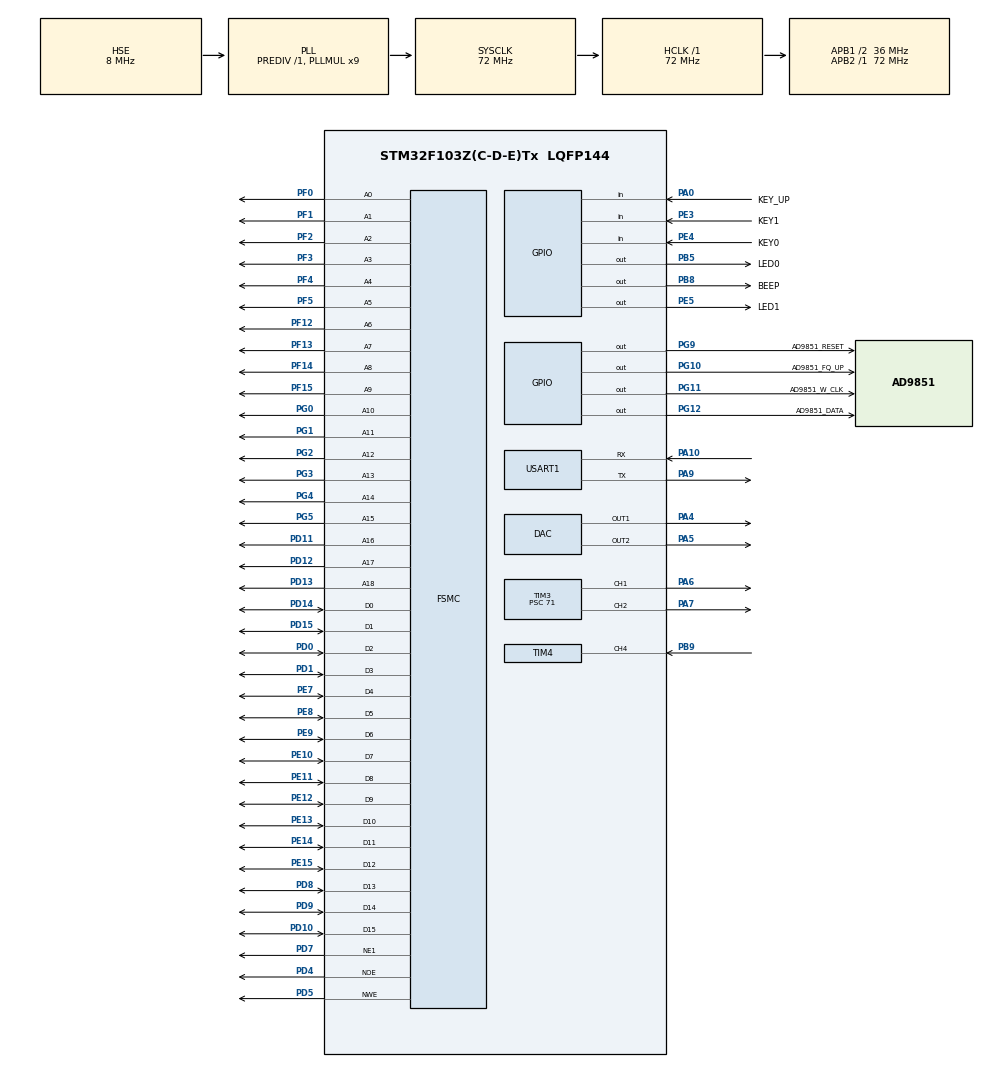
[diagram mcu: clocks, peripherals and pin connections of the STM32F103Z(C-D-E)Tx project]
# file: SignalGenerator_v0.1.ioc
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DAC.DAC_OutputBuffer=DAC_OUTPUTBUFFER_DISABLE
DAC.DAC_OutputBuffer2=DAC_OUTPUTBUFFER_DISABLE
DAC.DAC_Trigger=DAC_TRIGGER_T6_TRGO
DAC.DAC_Trigger2=DAC_TRIGGER_T6_TRGO
DAC.TriangleAmplitude=DAC_TRIANGLEAMPLITUDE_4095
DAC.WaveGeneration=TriangleWaveGeneration
DAC.WaveGeneration2=DISABLE
Dma.DAC_CH2.0.Direction=DMA_MEMORY_TO_PERIPH
Dma.DAC_CH2.0.Instance=DMA2_Channel4
Dma.DAC_CH2.0.MemDataAlignment=DMA_MDATAALIGN_HALFWORD
Dma.DAC_CH2.0.MemInc=DMA_MINC_ENABLE
Dma.DAC_CH2.0.Mode=DMA_CIRCULAR
Dma.DAC_CH2.0.PeriphDataAlignment=DMA_PDATAALIGN_HALFWORD
Dma.DAC_CH2.0.PeriphInc=DMA_PINC_DISABLE
Dma.DAC_CH2.0.Priority=DMA_PRIORITY_HIGH
Dma.Request0=DAC_CH2
FSMC.BusTurnAroundDuration1=1
FSMC.DataSetupTime1=46
FSMC.ExtendedBusTurnAroundDuration1=1
FSMC.ExtendedDataSetupTime1=15
FSMC.ExtendedMode1=FSMC_EXTENDED_MODE_ENABLE
FSMC.WriteOperation1=FSMC_WRITE_OPERATION_ENABLE
Mcu.Family=STM32F1
Mcu.Name=STM32F103Z(C-D-E)Tx
Mcu.Package=LQFP144
NVIC.DMA2_Channel4_5_IRQn=true\:0\:0\:false\:false\:true\:false\:true
NVIC.PriorityGroup=NVIC_PRIORITYGROUP_2
NVIC.TIM2_IRQn=true\:1\:0\:true\:false\:true\:true\:true
NVIC.TIM3_IRQn=true\:1\:0\:true\:false\:true\:true\:true
NVIC.TIM4_IRQn=true\:1\:3\:true\:false\:true\:true\:true
NVIC.TIM6_IRQn=true\:0\:0\:false\:false\:true\:true\:true
NVIC.USART1_IRQn=true\:2\:3\:true\:false\:true\:true\:true
OSC_IN.Mode=HSE-External-Oscillator
OSC_IN.Signal=RCC_OSC_IN
OSC_OUT.Mode=HSE-External-Oscillator
OSC_OUT.Signal=RCC_OSC_OUT
PA0-WKUP.GPIO_Label=KEY_UP
PA0-WKUP.GPIO_PuPd=GPIO_PULLDOWN
PA0-WKUP.Signal=GPIO_Input
PA10.Mode=Asynchronous
PA10.Signal=USART1_RX
PA4.Signal=COMP_DAC1_group
PA5.Signal=COMP_DAC2_group
PA6.GPIO_Speed=GPIO_SPEED_FREQ_HIGH
PA6.Signal=S_TIM3_CH1
PA7.GPIO_Speed=GPIO_SPEED_FREQ_HIGH
PA7.Signal=S_TIM3_CH2
PA9.Mode=Asynchronous
PA9.Signal=USART1_TX
PB5.GPIO_Label=LED0
PB5.GPIO_PuPd=GPIO_PULLUP
PB5.Signal=GPIO_Output
PB8.GPIO_Label=BEEP
PB8.GPIO_PuPd=GPIO_PULLUP
PB8.GPIO_Speed=GPIO_SPEED_FREQ_MEDIUM
PB8.Signal=GPIO_Output
PB9.Signal=S_TIM4_CH4
PD0.Signal=FSMC_D2_DA2
PD1.Signal=FSMC_D3_DA3
PD10.Signal=FSMC_D15_DA15
PD11.Signal=FSMC_A16_CLE
PD12.Signal=FSMC_A17_ALE
PD13.Signal=FSMC_A18
PD14.Signal=FSMC_D0_DA0
PD15.Signal=FSMC_D1_DA1
PD4.Signal=FSMC_NOE
PD5.Signal=FSMC_NWE
PD7.Mode=NorPsramChipSelect1_1
PD7.Signal=FSMC_NE1
PD8.Signal=FSMC_D13_DA13
PD9.Signal=FSMC_D14_DA14
PE10.Signal=FSMC_D7_DA7
PE11.Signal=FSMC_D8_DA8
PE12.Signal=FSMC_D9_DA9
PE13.Signal=FSMC_D10_DA10
PE14.Signal=FSMC_D11_DA11
PE15.Signal=FSMC_D12_DA12
PE3.GPIO_Label=KEY1
PE3.GPIO_PuPd=GPIO_PULLUP
PE3.Signal=GPIO_Input
PE4.GPIO_Label=KEY0
PE4.GPIO_PuPd=GPIO_PULLUP
PE4.Signal=GPIO_Input
PE5.GPIO_Label=LED1
PE5.GPIO_PuPd=GPIO_PULLUP
PE5.Signal=GPIO_Output
PE7.Signal=FSMC_D4_DA4
PE8.Signal=FSMC_D5_DA5
PE9.Signal=FSMC_D6_DA6
PF0.Signal=FSMC_A0
PF1.Signal=FSMC_A1
PF12.Signal=FSMC_A6
PF13.Signal=FSMC_A7
PF14.Signal=FSMC_A8
PF15.Signal=FSMC_A9
PF2.Signal=FSMC_A2
PF3.Signal=FSMC_A3
PF4.Signal=FSMC_A4
PF5.Signal=FSMC_A5
PG0.Signal=FSMC_A10
PG1.Signal=FSMC_A11
PG10.GPIO_Label=AD9851_FQ_UP
PG10.GPIO_PuPd=GPIO_PULLDOWN
PG10.GPIO_Speed=GPIO_SPEED_FREQ_HIGH
PG10.Signal=GPIO_Output
PG11.GPIO_Label=AD9851_W_CLK
PG11.GPIO_PuPd=GPIO_PULLDOWN
PG11.GPIO_Speed=GPIO_SPEED_FREQ_HIGH
PG11.Signal=GPIO_Output
PG12.GPIO_Label=AD9851_DATA
PG12.GPIO_PuPd=GPIO_PULLDOWN
PG12.GPIO_Speed=GPIO_SPEED_FREQ_HIGH
PG12.Signal=GPIO_Output
PG2.Signal=FSMC_A12
PG3.Signal=FSMC_A13
PG4.Signal=FSMC_A14
PG5.Signal=FSMC_A15
PG9.GPIO_Label=AD9851_RESET
PG9.GPIO_PuPd=GPIO_PULLDOWN
PG9.GPIO_Speed=GPIO_SPEED_FREQ_HIGH
PG9.Signal=GPIO_Output
ProjectManager.HeapSize=0x200
ProjectManager.StackSize=0x400
ProjectManager.TargetToolchain=MDK-ARM V5
RCC.AHBFreq_Value=72000000
RCC.APB1CLKDivider=RCC_HCLK_DIV2
RCC.APB1Freq_Value=36000000
RCC.APB1TimFreq_Value=72000000
RCC.APB2Freq_Value=72000000
RCC.APB2TimFreq_Value=72000000
RCC.HCLKFreq_Value=72000000
RCC.PLLMUL=RCC_PLL_MUL9
RCC.PLLSourceVirtual=RCC_PLLSOURCE_HSE
RCC.SYSCLKFreq_VALUE=72000000
RCC.SYSCLKSource=RCC_SYSCLKSOURCE_PLLCLK
RCC.USBFreq_Value=72000000
SH.COMP_DAC1_group.0=DAC_OUT1,DAC_OUT1
SH.COMP_DAC2_group.0=DAC_OUT2,DAC_OUT2
SH.FSMC_A0.0=FSMC_A0,19b-a1
SH.FSMC_A1.0=FSMC_A1,19b-a1
SH.FSMC_A10.0=FSMC_A10,19b-a1
SH.FSMC_A11.0=FSMC_A11,19b-a1
SH.FSMC_A12.0=FSMC_A12,19b-a1
SH.FSMC_A13.0=FSMC_A13,19b-a1
SH.FSMC_A14.0=FSMC_A14,19b-a1
SH.FSMC_A15.0=FSMC_A15,19b-a1
SH.FSMC_A16_CLE.0=FSMC_A16,19b-a1
SH.FSMC_A17_ALE.0=FSMC_A17,19b-a1
SH.FSMC_A18.0=FSMC_A18,19b-a1
SH.FSMC_A2.0=FSMC_A2,19b-a1
SH.FSMC_A3.0=FSMC_A3,19b-a1
SH.FSMC_A4.0=FSMC_A4,19b-a1
SH.FSMC_A5.0=FSMC_A5,19b-a1
SH.FSMC_A6.0=FSMC_A6,19b-a1
SH.FSMC_A7.0=FSMC_A7,19b-a1
SH.FSMC_A8.0=FSMC_A8,19b-a1
SH.FSMC_A9.0=FSMC_A9,19b-a1
SH.FSMC_D0_DA0.0=FSMC_D0,16b-d1
SH.FSMC_D10_DA10.0=FSMC_D10,16b-d1
SH.FSMC_D11_DA11.0=FSMC_D11,16b-d1
SH.FSMC_D12_DA12.0=FSMC_D12,16b-d1
SH.FSMC_D13_DA13.0=FSMC_D13,16b-d1
SH.FSMC_D14_DA14.0=FSMC_D14,16b-d1
SH.FSMC_D15_DA15.0=FSMC_D15,16b-d1
SH.FSMC_D1_DA1.0=FSMC_D1,16b-d1
SH.FSMC_D2_DA2.0=FSMC_D2,16b-d1
SH.FSMC_D3_DA3.0=FSMC_D3,16b-d1
SH.FSMC_D4_DA4.0=FSMC_D4,16b-d1
SH.FSMC_D5_DA5.0=FSMC_D5,16b-d1
SH.FSMC_D6_DA6.0=FSMC_D6,16b-d1
SH.FSMC_D7_DA7.0=FSMC_D7,16b-d1
SH.FSMC_D8_DA8.0=FSMC_D8,16b-d1
SH.FSMC_D9_DA9.0=FSMC_D9,16b-d1
SH.FSMC_NOE.0=FSMC_NOE,Sram1
SH.FSMC_NWE.0=FSMC_NWE,Sram1
SH.S_TIM3_CH1.0=TIM3_CH1,PWM Generation1 CH1
SH.S_TIM3_CH2.0=TIM3_CH2,PWM Generation2 CH2
SH.S_TIM4_CH4.0=TIM4_CH4,Input_Capture4_from_TI4
TIM2.Period=49999
TIM2.Prescaler=71
TIM2.TIM_MasterOutputTrigger=TIM_TRGO_UPDATE
TIM3.Channel-PWM\ Generation1\ CH1=TIM_CHANNEL_1
TIM3.Channel-PWM\ Generation2\ CH2=TIM_CHANNEL_2
TIM3.Period=49999
TIM3.Prescaler=71
TIM3.Pulse-PWM\ Generation1\ CH1=12345
TIM3.Pulse-PWM\ Generation2\ CH2=12345
TIM4.Channel-Input_Capture4_from_TI4=TIM_CHANNEL_4
TIM4.ICFilter_CH4=0x03
TIM4.Period=10000
TIM4.Prescaler=71
TIM6.Period=9999
TIM6.Prescaler=0
TIM6.TIM_MasterOutputTrigger=TIM_TRGO_UPDATE
USART1.VirtualMode=VM_ASYNC
VP_SYS_VS_ND.Mode=No_Debug
VP_TIM2_VS_ClockSourceINT.Mode=Internal
VP_TIM3_VS_ClockSourceINT.Mode=Internal
VP_TIM4_VS_ClockSourceINT.Mode=Internal
VP_TIM6_VS_ClockSourceINT.Mode=Enable_Timer
board=custom

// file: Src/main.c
/* USER CODE BEGIN Header */
/**
  ******************************************************************************
  * @file           : main.c
  * @brief          : Main program body
  ******************************************************************************
  * @attention
  *
  * <h2><center>&copy; Copyright (c) 2019 STMicroelectronics.
  * All rights reserved.</center></h2>
  *
  * This software component is licensed by ST under BSD 3-Clause license,
  * the "License"; You may not use this file except in compliance with the
  * License. You may obtain a copy of the License at:
  *                        opensource.org/licenses/BSD-3-Clause
  *
  ******************************************************************************
  */
/* USER CODE END Header */

#include "main.h"
#include "dac.h"
#include "dma.h"
#include "tim.h"
#include "usart.h"
#include "gpio.h"
#include "fsmc.h"

/* USER CODE BEGIN Includes */
#include "delay.h"
#include "c.h"
#include "func.h"
#include "lcd.h"
#include "menu.h"
#include "ad9851.h"
#include "paramanager.h"
#include "handle.h"

/* USER CODE END Includes */

void SystemClock_Config(void);

int main(void)
{

  /* MCU Configuration--------------------------------------------------------*/

  /* Reset of all peripherals, Initializes the Flash interface and the Systick. */
  HAL_Init();

  /* Configure the system clock */
  SystemClock_Config();

  /* USER CODE BEGIN SysInit */
	delay_init(72);
  /* USER CODE END SysInit */

  /* Initialize all configured peripherals */
  MX_GPIO_Init();

  MX_DMA_Init();
  MX_DAC_Init();
  MX_TIM2_Init();
  MX_USART1_UART_Init();
  //MX_FSMC_Init();
  MX_TIM4_Init();
  MX_TIM3_Init();
  MX_TIM6_Init();
  /* USER CODE BEGIN 2 */
	LCD_Init();

  /* USER CODE END 2 */

  /* Infinite loop */
  /* USER CODE BEGIN WHILE */

	InitMenu();//初始化菜单
	InitParaManager();//初始化参数管理器
	//初始化菜单选择项
	menu.layer=MenuLayer0;
	menu.Layer0_Selected=Item_SignalGenerator;
	menu.Layer1_Selected=Item_SquareWave;
	menu.Layer2_Selected=Item_IsEnable;

	//显示开机动画
	GUI_ShowPowerOn();
	while(KEY_Scan(0)==0)delay_ms(20);

	//显示菜单界面
	ShowMenu();

	//HAL_DAC_SetValue(&hdac,DAC_CHANNEL_1,DAC_ALIGN_12B_R,1234);

  while (1)
  {
		//IRHandle();
		KeyHandle();//按键处理
		ad9851_data_l;
		ad9851_fq_up_l;
		ad9851_rest_l;
		ad9851_w_clk_l;

		if(pm.flagParaSelected!=ParaRESET)
			ShowParameterNumber();
		delay_ms(10);

    /* USER CODE END WHILE */

  }
}

void SystemClock_Config(void)
{
  RCC_OscInitTypeDef RCC_OscInitStruct = {0};
  RCC_ClkInitTypeDef RCC_ClkInitStruct = {0};

  /** Initializes the CPU, AHB and APB busses clocks
  */
  RCC_OscInitStruct.OscillatorType = RCC_OSCILLATORTYPE_HSE;
  RCC_OscInitStruct.HSEState = RCC_HSE_ON;
  RCC_OscInitStruct.HSEPredivValue = RCC_HSE_PREDIV_DIV1;
  RCC_OscInitStruct.HSIState = RCC_HSI_ON;
  RCC_OscInitStruct.PLL.PLLState = RCC_PLL_ON;
  RCC_OscInitStruct.PLL.PLLSource = RCC_PLLSOURCE_HSE;
  RCC_OscInitStruct.PLL.PLLMUL = RCC_PLL_MUL9;
  if (HAL_RCC_OscConfig(&RCC_OscInitStruct) != HAL_OK)
  {
    Error_Handler();
  }
  /** Initializes the CPU, AHB and APB busses clocks
  */
  RCC_ClkInitStruct.ClockType = RCC_CLOCKTYPE_HCLK|RCC_CLOCKTYPE_SYSCLK
                              |RCC_CLOCKTYPE_PCLK1|RCC_CLOCKTYPE_PCLK2;
  RCC_ClkInitStruct.SYSCLKSource = RCC_SYSCLKSOURCE_PLLCLK;
  RCC_ClkInitStruct.AHBCLKDivider = RCC_SYSCLK_DIV1;
  RCC_ClkInitStruct.APB1CLKDivider = RCC_HCLK_DIV2;
  RCC_ClkInitStruct.APB2CLKDivider = RCC_HCLK_DIV1;

  if (HAL_RCC_ClockConfig(&RCC_ClkInitStruct, FLASH_LATENCY_2) != HAL_OK)
  {
    Error_Handler();
  }
}

void Error_Handler(void)
{
}

/************************ (C) COPYRIGHT STMicroelectronics *****END OF FILE****/
